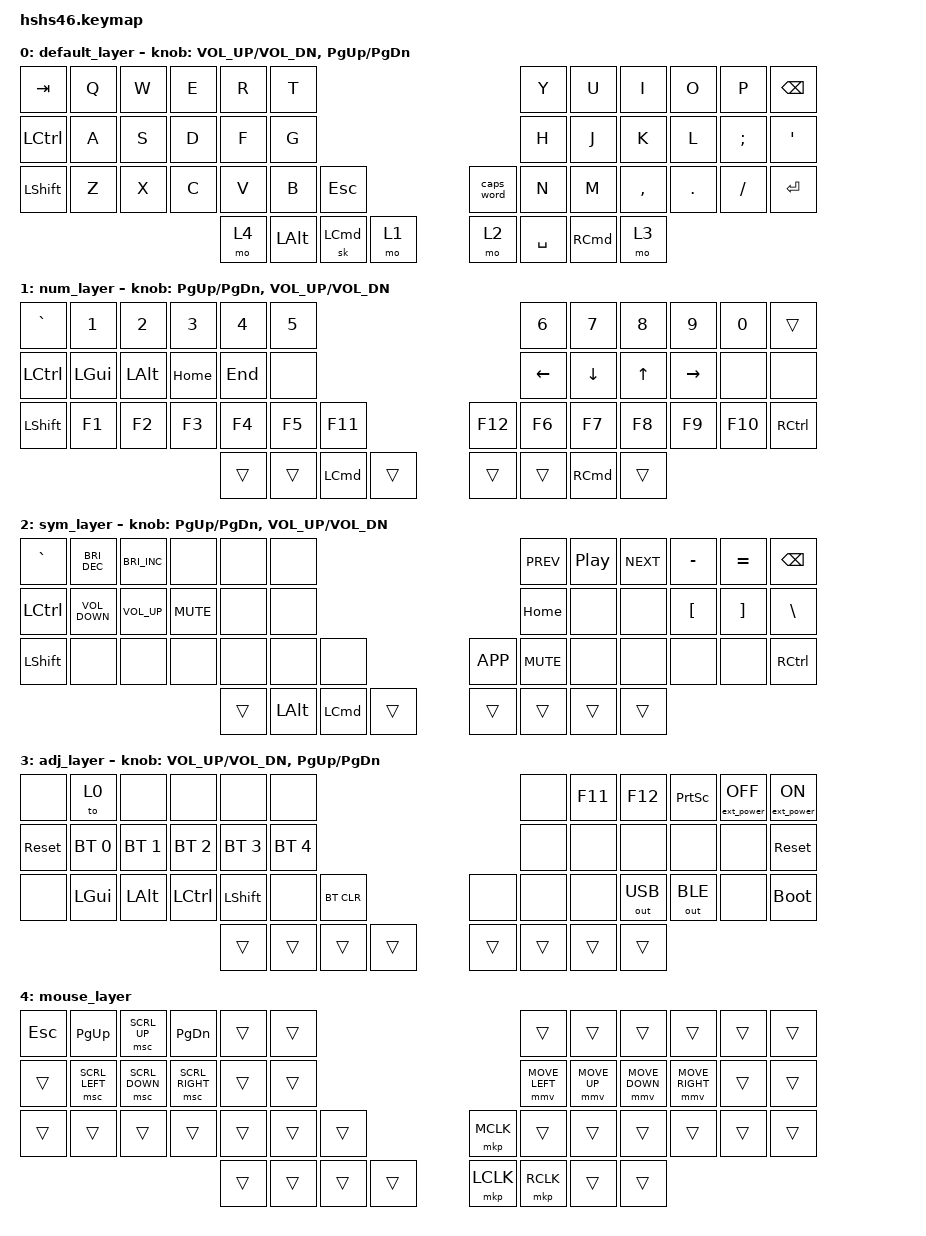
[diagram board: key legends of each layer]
/*
 * Copyright (c) 2021-2022 The ZMK Contributors
 *
 * SPDX-License-Identifier: MIT
 */

#define ZMK_POINTING_DEFAULT_MOVE_VAL 1000  // default: 600
#define ZMK_POINTING_DEFAULT_SCRL_VAL 16    // default: 10

#include <behaviors.dtsi>
#include <dt-bindings/zmk/bt.h>
#include <dt-bindings/zmk/ext_power.h>
#include <dt-bindings/zmk/keys.h>
#include <dt-bindings/zmk/outputs.h>
#include <dt-bindings/zmk/pointing.h>

#define QWERTY_L 0
#define NUM_L    1
#define SYM_L    2
#define ADJ_L    3
#define MOUSE_L  4
#define Undo   LC(Z)
#define Cut    LC(X)
#define Copy   LC(C)
#define Paste  LC(V)
#define Redo   LC(Y)

/ {
    keymap {
        compatible = "zmk,keymap";

        default_layer {
            /* QWERTY
 * -------------------------------------------------------------------------------------------------------------------------------------
 * | `     |   Q   |   W   |   E   |   R   |   T   |-----------------------------------|   Y   |   U   |   I   |   O   |   P   | BKSPC |
 * | TAB   |   A   |   S   |   D   |   F   |   G   |-----------------------------------|   H   |   J   |   K   |   L   |   ;   | ENTER |
 * | CTRL  |   Z   |   X   |   C   |   V   |   B   |  ESC  |-------------------|  CAPS |   N   |   M   |   ,   |   .   |   /   |   '   |
 *                                 |  GUI  |  ALT  |SK SHFT|  Nav  |---|  Sym  | SPACE |  ALT  |  GUI  |
 */

            bindings = <
&kp TAB           &kp Q  &kp W  &kp E  &kp R  &kp T                                                 &kp Y              &kp U  &kp I      &kp O    &kp P      &kp BSPC
&kp LEFT_CONTROL  &kp A  &kp S  &kp D  &kp F  &kp G                                                 &kp H              &kp J  &kp K      &kp L    &kp SEMI   &kp SQT
&kp LEFT_SHIFT    &kp Z  &kp X  &kp C  &kp V  &kp B     &kp ESC                         &caps_word  &kp N              &kp M  &kp COMMA  &kp DOT  &kp SLASH  &kp ENTER
                                       &mo 4  &kp LALT  &sk LEFT_COMMAND  &mo 1  &mo 2  &kp SPACE   &kp RIGHT_COMMAND  &mo 3
            >;

            sensor-bindings = <&inc_dec_kp C_VOL_UP C_VOL_DN &inc_dec_kp PG_UP PG_DN>;
        };

        num_layer {
            /* NAV
 * -------------------------------------------------------------------------------------------------------------------------------------
 * | Copy  |   1   |   2   |   3   |   4   |   5   |-----------------------------------|   6   |   7   |   8   |   9   |   0   | BSPC  |
 * | Cut   |  GUI  |  Alt  | Ctrl  | Shift | Paste |-----------------------------------| PG UP |  Left |  Up   |  Down | Right | PG DN |
 * | Ctrl  |  F1   |  F2   |  F3   |  F4   |  F5   |  UnDo |-------------------| ReDo  |  F6   |  F7   |  F8   |  F9   |  F10  | Ctrl  |
 *                                 |       |       |       |       |---| ADJ_L |       |       |       |
 */

            bindings = <
&kp GRAVE         &kp N1    &kp N2    &kp N3    &kp N4   &kp N5                                             &kp N6             &kp N7          &kp N8        &kp N9     &kp N0   &trans
&kp LEFT_CONTROL  &kp LGUI  &kp LALT  &kp HOME  &kp END  &none                                              &kp LEFT           &kp DOWN_ARROW  &kp UP_ARROW  &kp RIGHT  &none    &none
&kp LEFT_SHIFT    &kp F1    &kp F2    &kp F3    &kp F4   &kp F5  &kp F11                           &kp F12  &kp F6             &kp F7          &kp F8        &kp F9     &kp F10  &kp RCTRL
                                                &trans   &trans  &kp LEFT_COMMAND  &trans  &trans  &trans   &kp RIGHT_COMMAND  &trans
            >;

            sensor-bindings = <&inc_dec_kp PG_UP PG_DN &inc_dec_kp C_VOL_UP C_VOL_DN>;
        };

        sym_layer {
            /* SYM
 * -------------------------------------------------------------------------------------------------------------------------------------
 * | INS   |   !   |   @   |   #   |   $   |   %   |-----------------------------------|   ^   |   &   |   *   |   (   |   )   | BSPC  |
 * |       |   \   |   -   |   =   |   [   |   ]   |-----------------------------------| HOME  | Shift | Ctrl  | Alt   | Gui   | END   |
 * | Ctrl  |   |   |   _   |   +   |   {   |   }   |SkAltGr|-------------------| MENU  | Mute  | Vol-  | Vol+  | Play  |       | Ctrl  |
 *                                 |       |       |       |  ADJ_L |---|      |       |       |       |
 */

            bindings = <
&kp GRAVE         &kp C_BRIGHTNESS_DEC  &kp C_BRIGHTNESS_INC  &none       &none   &none                                                      &kp C_PREV  &kp C_PP  &kp C_NEXT  &kp MINUS         &kp EQUAL          &kp BACKSPACE
&kp LEFT_CONTROL  &kp C_VOLUME_DOWN     &kp C_VOLUME_UP       &kp K_MUTE  &none   &none                                                      &kp HOME    &none     &none       &kp LEFT_BRACKET  &kp RIGHT_BRACKET  &kp BACKSLASH
&kp LEFT_SHIFT    &none                 &none                 &none       &none   &none         &none                             &kp K_APP  &kp C_MUTE  &none     &none       &none             &none              &kp RCTRL
                                                                          &trans  &kp LEFT_ALT  &kp LEFT_COMMAND  &trans  &trans  &trans     &trans      &trans
            >;

            sensor-bindings = <&inc_dec_kp PG_UP PG_DN &inc_dec_kp C_VOL_UP C_VOL_DN>;
        };

        adj_layer {
            /* ADJUST
 * -------------------------------------------------------------------------------------------------------------------------------------
 * |       | QWERTY| DVORAK| COLEMK|       |       |-----------------------------------|       |  F11  |  F12  |Prt Scr|EP_OFF | EP_ON |
 * | RESET | BT 0  | BT 1  | BT 2  | BT 3  | BT 4  |-----------------------------------|       |       |       |       |       | RESET |
 * |       | LGUI  | LALT  | LCTRL | LSHIFT|       |BT CLR |-------------------|       |       |       |OUT_USB|OUT_BLE|       | BOOTL |
 *                                 |       |       |       |       |---|       |       |       |       |
 */

            bindings = <
&none       &to 0         &none         &none         &none         &none                                             &none   &kp F11  &kp F12       &kp PRINTSCREEN  &ext_power EP_OFF  &ext_power EP_ON
&sys_reset  &bt BT_SEL 0  &bt BT_SEL 1  &bt BT_SEL 2  &bt BT_SEL 3  &bt BT_SEL 4                                      &none   &none    &none         &none            &none              &sys_reset
&none       &kp LGUI      &kp LALT      &kp LCTRL     &kp LSHIFT    &none         &bt BT_CLR                  &none   &none   &none    &out OUT_USB  &out OUT_BLE     &none              &bootloader
                                                      &trans        &trans        &trans      &trans  &trans  &trans  &trans  &trans
            >;

            sensor-bindings = <&inc_dec_kp C_VOL_UP C_VOL_DN &inc_dec_kp PG_UP PG_DN>;
        };

        mouse_layer {
            bindings = <
&kp ESCAPE  &kp PAGE_UP     &msc SCRL_UP    &kp PAGE_DOWN    &trans  &trans                                        &trans          &trans        &trans          &trans           &trans  &trans
&trans      &msc SCRL_LEFT  &msc SCRL_DOWN  &msc SCRL_RIGHT  &trans  &trans                                        &mmv MOVE_LEFT  &mmv MOVE_UP  &mmv MOVE_DOWN  &mmv MOVE_RIGHT  &trans  &trans
&trans      &trans          &trans          &trans           &trans  &trans  &trans                     &mkp MCLK  &trans          &trans        &trans          &trans           &trans  &trans
                                                             &trans  &trans  &trans  &trans  &mkp LCLK  &mkp RCLK  &trans          &trans
            >;
        };
    };
};
